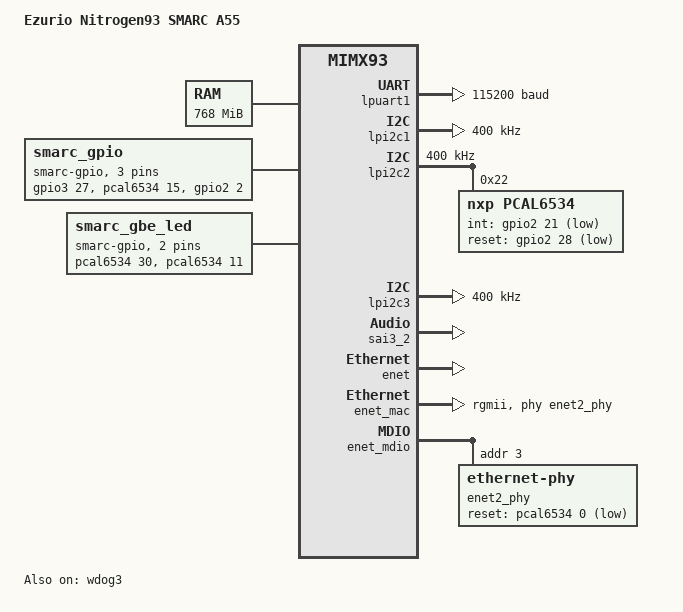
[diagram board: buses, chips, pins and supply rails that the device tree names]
/*
 * SPDX-FileCopyrightText: Copyright 2026 Ezurio
 * SPDX-License-Identifier: Apache-2.0
 */

/dts-v1/;

#include <nxp/nxp_mimx93_a55.dtsi>
#include <dt-bindings/gpio/smarc-gpio.h>
#include <dt-bindings/gpio/smarc-gbe.h>
#include "nitrogen93_smarc-pinctrl.dtsi"

/ {
	model = "Ezurio Nitrogen93 SMARC A55";
	compatible = "ezurio,nitrogen93-smarc";

	aliases {
		watchdog0 = &wdog3;
	};

	chosen {
		zephyr,console = &smarc_ser1;
		zephyr,shell-uart = &smarc_ser1;
		zephyr,sram = &dram;
		zephyr,canbus = &smarc_can1;
	};

	cpus {
		cpu@0 {
			status = "disabled";
		};
	};

	dram: memory@d0000000 {
		reg = <0xd0000000 DT_SIZE_M(768)>;
	};

	/*
	 * SMARC 2.x connector GPIO_IO0..GPIO_IO13. Cell 0 is the SMARC
	 * GPIO_IO signal index; shields reference pins with the
	 * SMARC_GPIO_IO* constants as <&smarc_gpio SMARC_GPIO_IO<n> flags>.
	 * The module maps each index to its own SoC GPIO or on-module
	 * expander. Only pins the carrier actually wires are listed here —
	 * add entries as new pins are routed.
	 */
	smarc_gpio: smarc-gpio {
		compatible = "smarc-gpio";
		#gpio-cells = <2>;
		gpio-map-mask = <0xffffffff 0xffffffc0>;
		gpio-map-pass-thru = <0 0x3f>;
		gpio-map = <SMARC_GPIO_IO1 0 &gpio3 27 0>,    /* smarc_can0 transceiver standby */
			   <SMARC_GPIO_IO4 0 &pcal6534 15 0>, /* smarc_can1 transceiver standby */
			   <SMARC_GPIO_IO6 0 &gpio2 2 0>;     /* smarc_i2c_gp mux reset */
	};

	/*
	 * SMARC 2.x dedicated GBE0/GBE1 link LED signals (LINK100). These
	 * are separate from the general-purpose GPIO_IO bank; the carrier
	 * drives its Ethernet LEDs through these connector pins. The module
	 * maps each to its own on-module expander pin.
	 */
	smarc_gbe_led: smarc-gbe-led {
		compatible = "smarc-gpio";
		#gpio-cells = <2>;
		gpio-map-mask = <0xffffffff 0xffffffc0>;
		gpio-map-pass-thru = <0 0x3f>;
		gpio-map = <SMARC_GBE0_LINK100 0 &pcal6534 30 0>,
			   <SMARC_GBE1_LINK100 0 &pcal6534 11 0>;
	};
};

/* SMARC SER1 (LPUART1). Wired as the module console/shell UART. */
smarc_ser1: &lpuart1 {
	current-speed = <115200>;
	pinctrl-0 = <&uart1_default>;
	pinctrl-names = "default";
	status = "okay";
};

/* SMARC SER2 (LPUART2). Module pin routing; carrier enables and sets baud. */
smarc_ser2: &lpuart2 {
	pinctrl-0 = <&uart2_default>;
	pinctrl-names = "default";
};

&lpi2c1 {
	clock-frequency = <I2C_BITRATE_FAST>;
	pinctrl-0 = <&i2c1_default>;
	pinctrl-names = "default";
	status = "okay";
};

&lpi2c2 {
	clock-frequency = <I2C_BITRATE_FAST>;
	pinctrl-0 = <&i2c2_default>;
	pinctrl-names = "default";
	status = "okay";

	pcal6534: pcal6534@22 {
		compatible = "nxp,pcal6534";
		reg = <0x22>;
		gpio-controller;
		#gpio-cells = <2>;
		ngpios = <32>;
		int-gpios = <&gpio2 21 (GPIO_ACTIVE_LOW | GPIO_PULL_UP)>;
		reset-gpios = <&gpio2 28 GPIO_ACTIVE_LOW>;
		status = "okay";
	};
};

smarc_i2c_gp: &lpi2c3 {
	clock-frequency = <I2C_BITRATE_FAST>;
	pinctrl-0 = <&i2c3_default>;
	pinctrl-names = "default";
	status = "okay";
};

/*
 * sai3_2 (SMARC I2S0) uses edma4_2 for its TX/RX DMA channels, so the
 * DMA controller must also be enabled or the eDMA HAL headers won't be
 * pulled into the build (CONFIG_DMA_MCUX_EDMA_V4 depends on it).
 */
&edma4_2 {
	status = "okay";
};

smarc_i2s0: &sai3_2 {
	pinctrl-0 = <&sai3_default>;
	pinctrl-names = "default";
	status = "okay";
};

&gpio1 {
	status = "okay";
};

&gpio2 {
	status = "okay";
};

&gpio3 {
	status = "okay";
};

&gpio4 {
	status = "okay";
};

/* SMARC CAN0 (i.MX93 CAN1). */
smarc_can0: &flexcan1 {
	pinctrl-0 = <&flexcan1_default>;
	pinctrl-names = "default";
	status = "disabled";
};

/* SMARC CAN1 (i.MX93 CAN2). */
smarc_can1: &flexcan2 {
	pinctrl-0 = <&flexcan2_default>;
	pinctrl-names = "default";
	status = "disabled";
};

/* SMARC SPI0 (LPSPI3). */
smarc_spi0: &lpspi3 {
	pinctrl-0 = <&spi3_default>;
	pinctrl-names = "default";
	rx-fifo-size = <16>;
	tx-fifo-size = <16>;
	status = "disabled";
};

/*
 * SoC label &enet is the i.MX93 FEC controller at 0x42890000, which is
 * routed to the physical ENET2 pins/RJ45 on the Nitrogen 93 SMARC.
 * (ENET1 uses the i.MX93 EQoS block, which is not supported by Zephyr.)
 */
&enet {
	pinctrl-0 = <&pinmux_enet2>;
	pinctrl-names = "default";
	status = "okay";
};

&enet_mac {
	phy-handle = <&enet2_phy>;
	zephyr,random-mac-address;
	phy-connection-type = "rgmii";
	status = "okay";
};

&enet_mdio {
	pinctrl-0 = <&pinmux_enet2_mdio>;
	pinctrl-names = "default";
	status = "okay";

	enet2_phy: phy@3 {
		compatible = "ethernet-phy";
		reg = <3>;
		reset-gpios = <&pcal6534 0 GPIO_ACTIVE_LOW>;
		reset-assert-duration-us = <150000>;
		reset-deassertion-timeout-ms = <100>;
		status = "okay";
	};
};

&wdog3 {
	status = "okay";
};

&usdhc1 {
	pinctrl-0 = <&pinmux_usdhc1>;
	pinctrl-1 = <&pinmux_usdhc1_100mhz>;
	pinctrl-2 = <&pinmux_usdhc1_200mhz>;
	pinctrl-names = "default", "med", "fast";
	mmc-hs200-1_8v;
	mmc-hs400-1_8v;
	read-watermark = <0x10>;
	write-watermark = <0x80>;
	status = "disabled";

	sdmmc {
		compatible = "zephyr,mmc-disk";
		disk-name = "eMMC";
		status = "disabled";
	};
};

/* SMARC SDIO (USDHC2). */
smarc_sdio: &usdhc2 {
	pinctrl-0 = <&pinmux_usdhc2>;
	pinctrl-1 = <&pinmux_usdhc2_100mhz>;
	pinctrl-2 = <&pinmux_usdhc2_200mhz>;
	pinctrl-names = "default", "med", "fast";
	pwr-gpios = <&gpio3 7 GPIO_ACTIVE_HIGH>;
	cd-gpios = <&gpio3 0 GPIO_ACTIVE_LOW>;
	power-delay-ms = <20>;
	read-watermark = <0x10>;
	write-watermark = <0x80>;
	status = "disabled";

	sdmmc {
		compatible = "zephyr,sdmmc-disk";
		disk-name = "SD";
		status = "disabled";
	};
};

/* SMARC USB0 (i.MX93 USB1). */
smarc_usb0: &usb1 {
	status = "disabled";
};

/* Keep zephyr_udc0 alias so portable USB samples work. */
zephyr_udc0: &usb1 {};
